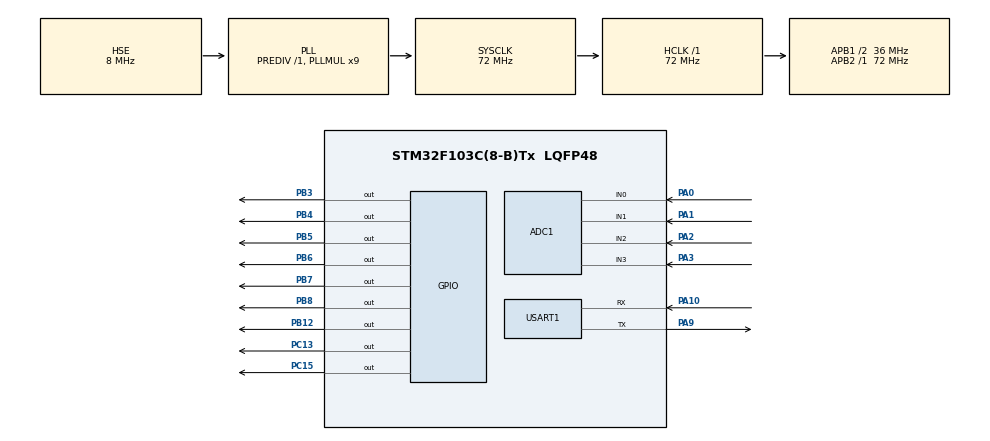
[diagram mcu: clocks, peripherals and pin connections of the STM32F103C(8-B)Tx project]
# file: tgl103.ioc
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ADC1.Channel-10\#ChannelRegularConversion=ADC_CHANNEL_2
ADC1.Channel-11\#ChannelRegularConversion=ADC_CHANNEL_3
ADC1.Channel-4\#ChannelRegularConversion=ADC_CHANNEL_0
ADC1.Channel-9\#ChannelRegularConversion=ADC_CHANNEL_1
ADC1.ContinuousConvMode=ENABLE
ADC1.DataAlign=ADC_DATAALIGN_RIGHT
ADC1.DiscontinuousConvMode=DISABLE
ADC1.EnableAnalogWatchDog=false
ADC1.EnableRegularConversion=ENABLE
ADC1.ExternalTrigConvEdgeChoice=NONE
ADC1.InjNumberOfConversion=0
ADC1.NbrOfConversion=4
ADC1.NbrOfConversionFlag=1
ADC1.Rank-10\#ChannelRegularConversion=3
ADC1.Rank-11\#ChannelRegularConversion=4
ADC1.Rank-4\#ChannelRegularConversion=1
ADC1.Rank-9\#ChannelRegularConversion=2
ADC1.SamplingTime-10\#ChannelRegularConversion=ADC_SAMPLETIME_239CYCLES_5
ADC1.SamplingTime-11\#ChannelRegularConversion=ADC_SAMPLETIME_239CYCLES_5
ADC1.SamplingTime-4\#ChannelRegularConversion=ADC_SAMPLETIME_239CYCLES_5
ADC1.SamplingTime-9\#ChannelRegularConversion=ADC_SAMPLETIME_239CYCLES_5
ADC1.ScanConvMode=ADC_SCAN_ENABLE
ADC1.master=1
Dma.ADC1.0.Direction=DMA_PERIPH_TO_MEMORY
Dma.ADC1.0.Instance=DMA1_Channel1
Dma.ADC1.0.MemDataAlignment=DMA_MDATAALIGN_HALFWORD
Dma.ADC1.0.MemInc=DMA_MINC_ENABLE
Dma.ADC1.0.Mode=DMA_CIRCULAR
Dma.ADC1.0.PeriphDataAlignment=DMA_PDATAALIGN_HALFWORD
Dma.ADC1.0.PeriphInc=DMA_PINC_DISABLE
Dma.ADC1.0.Priority=DMA_PRIORITY_HIGH
Dma.Request0=ADC1
Mcu.Family=STM32F1
Mcu.Name=STM32F103C(8-B)Tx
Mcu.Package=LQFP48
NVIC.ADC1_2_IRQn=true\:0\:0\:false\:false\:true
NVIC.DMA1_Channel1_IRQn=true\:0\:0\:false\:false\:true
NVIC.PriorityGroup=NVIC_PRIORITYGROUP_4
NVIC.TIM2_IRQn=true\:0\:0\:false\:false\:true
NVIC.TIM3_IRQn=true\:0\:0\:false\:false\:true
NVIC.USART1_IRQn=true\:0\:0\:false\:false\:true
PA0-WKUP.Signal=ADCx_IN0
PA1.Signal=ADCx_IN1
PA10.Mode=Asynchronous
PA10.Signal=USART1_RX
PA2.Signal=ADCx_IN2
PA3.Signal=ADCx_IN3
PA9.Mode=Asynchronous
PA9.Signal=USART1_TX
PB12.Signal=GPIO_Output
PB3.Signal=GPIO_Output
PB4.Signal=GPIO_Output
PB5.Signal=GPIO_Output
PB6.Signal=GPIO_Output
PB7.Signal=GPIO_Output
PB8.Signal=GPIO_Output
PC13-TAMPER-RTC.Signal=GPIO_Output
PC15-OSC32_OUT.Signal=GPIO_Output
PD0-OSC_IN.Mode=HSE-External-Oscillator
PD0-OSC_IN.Signal=RCC_OSC_IN
PD1-OSC_OUT.Mode=HSE-External-Oscillator
PD1-OSC_OUT.Signal=RCC_OSC_OUT
ProjectManager.HeapSize=0x200
ProjectManager.StackSize=0x400
ProjectManager.TargetToolchain=TrueSTUDIO
RCC.ADCPresc=RCC_ADCPCLK2_DIV6
RCC.AHBFreq_Value=72000000
RCC.APB1CLKDivider=RCC_HCLK_DIV2
RCC.APB1Freq_Value=36000000
RCC.APB1TimFreq_Value=72000000
RCC.APB2Freq_Value=72000000
RCC.APB2TimFreq_Value=72000000
RCC.HCLKFreq_Value=72000000
RCC.HSIState=RCC_HSI_ON
RCC.PLLMUL=RCC_PLL_MUL9
RCC.PLLSourceVirtual=RCC_PLLSOURCE_HSE
RCC.SYSCLKFreq_VALUE=72000000
RCC.SYSCLKSource=RCC_SYSCLKSOURCE_PLLCLK
RCC.USBFreq_Value=72000000
SH.ADCx_IN0.0=ADC1_IN0,IN0
SH.ADCx_IN1.0=ADC1_IN1,IN1
SH.ADCx_IN2.0=ADC1_IN2,IN2
SH.ADCx_IN3.0=ADC1_IN3,IN3
TIM2.Period=1199
TIM2.Prescaler=59999
TIM3.Period=599
TIM3.Prescaler=59999
VP_SYS_VS_ND.Mode=No_Debug
VP_TIM2_VS_ClockSourceINT.Mode=Internal
VP_TIM3_VS_ClockSourceINT.Mode=Internal
board=tgl103

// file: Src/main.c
/**
  ******************************************************************************
  * File Name          : main.c
  * Description        : Main program body
  ******************************************************************************
  *
  * COPYRIGHT(c) 2016 STMicroelectronics
  *
  * Redistribution and use in source and binary forms, with or without modification,
  * are permitted provided that the following conditions are met:
  *   1. Redistributions of source code must retain the above copyright notice,
  *      this list of conditions and the following disclaimer.
  *   2. Redistributions in binary form must reproduce the above copyright notice,
  *      this list of conditions and the following disclaimer in the documentation
  *      and/or other materials provided with the distribution.
  *   3. Neither the name of STMicroelectronics nor the names of its contributors
  *      may be used to endorse or promote products derived from this software
  *      without specific prior written permission.
  *
  * THIS SOFTWARE IS PROVIDED BY THE COPYRIGHT HOLDERS AND CONTRIBUTORS "AS IS"
  * AND ANY EXPRESS OR IMPLIED WARRANTIES, INCLUDING, BUT NOT LIMITED TO, THE
  * IMPLIED WARRANTIES OF MERCHANTABILITY AND FITNESS FOR A PARTICULAR PURPOSE ARE
  * DISCLAIMED. IN NO EVENT SHALL THE COPYRIGHT HOLDER OR CONTRIBUTORS BE LIABLE
  * FOR ANY DIRECT, INDIRECT, INCIDENTAL, SPECIAL, EXEMPLARY, OR CONSEQUENTIAL
  * DAMAGES (INCLUDING, BUT NOT LIMITED TO, PROCUREMENT OF SUBSTITUTE GOODS OR
  * SERVICES; LOSS OF USE, DATA, OR PROFITS; OR BUSINESS INTERRUPTION) HOWEVER
  * CAUSED AND ON ANY THEORY OF LIABILITY, WHETHER IN CONTRACT, STRICT LIABILITY,
  * OR TORT (INCLUDING NEGLIGENCE OR OTHERWISE) ARISING IN ANY WAY OUT OF THE USE
  * OF THIS SOFTWARE, EVEN IF ADVISED OF THE POSSIBILITY OF SUCH DAMAGE.
  *
  ******************************************************************************
  */
#include "main.h"
#include "stm32f1xx_hal.h"

/* USER CODE BEGIN Includes */

#define a 	-6.08514057893257E+01
#define b 	1.15381410267267E-01
#define c 	-9.03230843887536E-05
#define d 	3.93417328130461E-08
#define e 	-5.50323888608191E-12
#define f 	-8.02107242737393E-16
#define g 	2.19258540076786E-19

/* USER CODE END Includes */

ADC_HandleTypeDef hadc1;
DMA_HandleTypeDef hdma_adc1;

TIM_HandleTypeDef htim2;
TIM_HandleTypeDef htim3;

UART_HandleTypeDef huart1;

/* USER CODE BEGIN PV */
/* Private variables ---------------------------------------------------------*/
                  //123456789012345678901234567890
char str[2][30] = {"Cortex-M3 Stm32f103c8t6.....\r\n",
		           "Mini device for simple proj.\r\n"};
uint8_t ui8 = 0, snum = 0;
char    mathStr[40];

volatile uint16_t con_ADCDATA[6];  // 239.5 clock data
volatile uint16_t gADCDATA[6];     // 1/10  sec data

/* Initialization of variables for kalman filter */
float x_next, x=0.0,P_next,P=1,K,Q = 1.0/100000.0,R = 0.1*0.1,z;

/*
name:	Polynomial Regression (degree=6)
kind:	Regression
family:	Linear Regressions
equation:	a + b*x + c*x^2 + ...
latexequation:	a + bx + cx^2 + ...
indep. variables:	1

Parameters:
#define a 	-6.08514057893257E+01
#define b 	1.15381410267267E-01
#define c 	-9.03230843887536E-05
#define d 	3.93417328130461E-08
#define e 	-5.50323888608191E-12
#define f 	-8.02107242737393E-16
#define g 	2.19258540076786E-19

Standard Error:	5.96915120304801E-01
Coefficient of Determination (r^2):	9.99859758426623E-01
Correlation Coefficient (r):	9.99929876754677E-01

Covariance matrix:
	6.7256551157488043E-01	-4.2665563936484761E-03	8.3301722971038438E-06	-7.1430399001585161E-09	3.0112763202003818E-12	-6.1327033615241933E-16	4.8239295117853225E-20
	-4.2665563940342344E-03	2.9821065406003806E-05	-6.1169363381753954E-08	5.4021532171007549E-11	-2.3222782172565127E-14	4.7955732416632437E-18	-3.8114653608579197E-22
	8.3301722988046165E-06	-6.1169363388213123E-08	1.3056948562071395E-10	-1.1857085634927897E-13	5.2002483531673306E-17	-1.0900628490726176E-20	8.7646131917726930E-25
	-7.1430399023752774E-09	5.4021532181845890E-11	-1.1857085635990790E-13	1.1000729526928750E-16	-4.9042549459578582E-20	1.0412139338440372E-23	-8.4575337835788817E-28
	3.0112763214166075E-12	-2.3222782179109826E-14	5.2002483540166041E-17	-4.9042549463060603E-20	2.2150281580602848E-23	-4.7521669575648385E-27	3.8932434772931442E-31
	-6.1327033644943946E-16	4.7955732433445482E-18	-1.0900628493169043E-20	1.0412139339772940E-23	-4.7521669578292982E-27	1.0283570752195092E-30	-8.4855116305669211E-35
	4.8239295144538814E-20	-3.8114653624172619E-22	8.7646131941817622E-25	-8.4575337850552054E-28	3.8932434776835284E-31	-8.4855116309396446E-35	7.0444008174390275E-39

Parameter Standard Deviations:
a_stddev =	4.89530636627185E-01
b_stddev =	3.25967391909424E-03
c_stddev =	6.82077033770437E-06
d_stddev =	6.26070619448553E-09
e_stddev =	2.80932643477402E-12
f_stddev =	6.05319340504220E-16
g_stddev =	5.00996404911345E-20

Parameter Uncertainties, 95%:
a_unc =	9.66595167959348E-01
b_unc =	6.43633885925543E-03
c_unc =	1.34678468657448E-05
d_unc =	1.23619808502641E-08
e_unc =	5.54711218031708E-12
f_unc =	1.19522396725767E-15
g_unc =	9.89234723875133E-20
*/

/* USER CODE END PV */

void SystemClock_Config(void);
void Error_Handler(void);
static void MX_GPIO_Init(void);
static void MX_DMA_Init(void);
static void MX_USART1_UART_Init(void);
static void MX_TIM2_Init(void);
static void MX_TIM3_Init(void);
static void MX_ADC1_Init(void);

/* USER CODE BEGIN PFP */
/* Private function prototypes -----------------------------------------------*/

/* USER CODE END PFP */

/* USER CODE BEGIN 0 */
void HAL_TIM_PeriodElapsedCallback(TIM_HandleTypeDef *htim)
{
	uint8_t t;
	double    fV,Resistance;
    double Temp = 0.0;
//    uint16_t Resistance;

	if(htim->Instance==TIM2) {
		HAL_GPIO_TogglePin(GPIOB, GPIO_PIN_12);
		for(t=0;t<2;t++) {
			gADCDATA[t] = con_ADCDATA[t];
		}

		// Assuming a 10k Thermistor.  Calculation is actually: Resistance = (4096/ADC)
		/******************************************************************/
		/* Utilizes the Steinhart-Hart Thermistor Equation:				*/
		/*    Temperature in Kelvin = 1 / {A + B[ln(R)] + C[ln(R)]^3}		*/
		/*    where A = 0.001129148, B = 0.000234125 and C = 8.76741E-08	*/
		/******************************************************************/

		Resistance=((40960000.0/(4095-(float)gADCDATA[0])) - 10000.0);
		fV = log(Resistance);
		Temp = 1 / (0.001129148 + (0.000234125 * fV));//  + (0.0000000876741 * fV * fV * fV));
		Temp = Temp - 298.15;  // Convert Kelvin to Celsius
		sprintf(mathStr,"[%6u%6.2f]",(gADCDATA[0]),Temp);
		HAL_UART_Transmit(&huart1, (uint8_t *)mathStr, 14,1000);
		// TLCD_Init(GPIOB,GPIO_PIN_3,GPIO_PIN_4,GPIO_PIN_5,GPIO_PIN_6,GPIO_PIN_7,GPIO_PIN_8);
		TLCD_Puts(1,0,mathStr);

		/*
		sprintf(mathStr,"*%10u%10.2f\r\n",gADCDATA[1],MMF(gADCDATA[1]));
		HAL_UART_Transmit(&huart1, (uint8_t *)mathStr, 23,1000);*/
		sprintf(mathStr,"[%10u]\r\n",gADCDATA[1]);
		TLCD_Puts(2,0,mathStr);
		HAL_UART_Transmit(&huart1, (uint8_t *)mathStr, 14,1000);
	}
	else if(htim->Instance==TIM3) {
/*		if(ui8==2) ui8 = 0;
		if(snum==100) snum = 0;
		sprintf(mathStr,"Sin(%03d) = %15.10lf\r\n",snum, sin(snum*3.141592/180));
		HAL_UART_Transmit(&huart1, (uint8_t *)mathStr, 28,1000);
		ui8++;
		snum++; */
	}
}

double MMF(uint16_t x)
{
	double r = (a + b*x + c*pow(x,2) + d*pow(x,3) + e*pow(x,4) + f*pow(x,5) +g*pow(x,6));
	return r;
}

float kalmanData(float input_data)
{
    float rtn;

    x_next=x;
    P_next=P+Q;                      //    1 + 0.00001
    K=P_next/(P_next+R);             //    1.00001 / (1.00001 + 0.01)
    z=input_data;                    // -0.37727 ** ; input data
    x=x_next+K*(z-x_next);           // 0 + 0.990099 *(input-0)
    P=(1-K)*P_next;

    rtn = x;
    return rtn;
}

/* USER CODE END 0 */

int main(void)
{

  /* MCU Configuration----------------------------------------------------------*/

  /* Reset of all peripherals, Initializes the Flash interface and the Systick. */
  HAL_Init();

  /* Configure the system clock */
  SystemClock_Config();

  /* Initialize all configured peripherals */
  MX_GPIO_Init();
  MX_DMA_Init();
  MX_USART1_UART_Init();
  MX_TIM2_Init();
  MX_TIM3_Init();
  MX_ADC1_Init();

  TLCD_Init(GPIOB,GPIO_PIN_3,GPIO_PIN_4,GPIO_PIN_5,GPIO_PIN_6,GPIO_PIN_7,GPIO_PIN_8);
  TLCD_Puts(1,0,"12345678");
  TLCD_Puts(2,0,"asdfghjk");

  /* USER CODE BEGIN 2 */
  while(HAL_TIM_Base_Start_IT(&htim2)!=HAL_OK);
  while(HAL_TIM_Base_Start_IT(&htim3)!=HAL_OK);

  HAL_ADC_Start_DMA(&hadc1,(uint32_t *)&con_ADCDATA,6);
  /* USER CODE END 2 */

  /* Infinite loop */
  /* USER CODE BEGIN WHILE */

  HAL_GPIO_WritePin(GPIOB,GPIO_PIN_12, GPIO_PIN_SET);
  HAL_GPIO_WritePin(GPIOC,GPIO_PIN_13, GPIO_PIN_SET);

  while (1)
  {
  /* USER CODE END WHILE */

  }

}

/** System Clock Configuration
*/
void SystemClock_Config(void)
{

  RCC_OscInitTypeDef RCC_OscInitStruct;
  RCC_ClkInitTypeDef RCC_ClkInitStruct;
  RCC_PeriphCLKInitTypeDef PeriphClkInit;

    /**Initializes the CPU, AHB and APB busses clocks
    */
  RCC_OscInitStruct.OscillatorType = RCC_OSCILLATORTYPE_HSE;
  RCC_OscInitStruct.HSEState = RCC_HSE_ON;
  RCC_OscInitStruct.HSEPredivValue = RCC_HSE_PREDIV_DIV1;
  RCC_OscInitStruct.HSIState = RCC_HSI_ON;
  RCC_OscInitStruct.PLL.PLLState = RCC_PLL_ON;
  RCC_OscInitStruct.PLL.PLLSource = RCC_PLLSOURCE_HSE;
  RCC_OscInitStruct.PLL.PLLMUL = RCC_PLL_MUL9;
  if (HAL_RCC_OscConfig(&RCC_OscInitStruct) != HAL_OK)
  {
    Error_Handler();
  }

    /**Initializes the CPU, AHB and APB busses clocks
    */
  RCC_ClkInitStruct.ClockType = RCC_CLOCKTYPE_HCLK|RCC_CLOCKTYPE_SYSCLK
                              |RCC_CLOCKTYPE_PCLK1|RCC_CLOCKTYPE_PCLK2;
  RCC_ClkInitStruct.SYSCLKSource = RCC_SYSCLKSOURCE_PLLCLK;
  RCC_ClkInitStruct.AHBCLKDivider = RCC_SYSCLK_DIV1;
  RCC_ClkInitStruct.APB1CLKDivider = RCC_HCLK_DIV2;
  RCC_ClkInitStruct.APB2CLKDivider = RCC_HCLK_DIV1;

  if (HAL_RCC_ClockConfig(&RCC_ClkInitStruct, FLASH_LATENCY_2) != HAL_OK)
  {
    Error_Handler();
  }

  PeriphClkInit.PeriphClockSelection = RCC_PERIPHCLK_ADC;
  PeriphClkInit.AdcClockSelection = RCC_ADCPCLK2_DIV6;
  if (HAL_RCCEx_PeriphCLKConfig(&PeriphClkInit) != HAL_OK)
  {
    Error_Handler();
  }

    /**Configure the Systick interrupt time
    */
  HAL_SYSTICK_Config(HAL_RCC_GetHCLKFreq()/1000);

    /**Configure the Systick
    */
  HAL_SYSTICK_CLKSourceConfig(SYSTICK_CLKSOURCE_HCLK);

  /* SysTick_IRQn interrupt configuration */
  HAL_NVIC_SetPriority(SysTick_IRQn, 0, 0);
}

/* ADC1 init function */
static void MX_ADC1_Init(void)
{

  ADC_ChannelConfTypeDef sConfig;

    /**Common config
    */
  hadc1.Instance = ADC1;
  hadc1.Init.ScanConvMode = ADC_SCAN_ENABLE;
  hadc1.Init.ContinuousConvMode = ENABLE;
  hadc1.Init.DiscontinuousConvMode = DISABLE;
  hadc1.Init.ExternalTrigConv = ADC_SOFTWARE_START;
  hadc1.Init.DataAlign = ADC_DATAALIGN_RIGHT;
  hadc1.Init.NbrOfConversion = 4;
  if (HAL_ADC_Init(&hadc1) != HAL_OK)
  {
    Error_Handler();
  }

    /**Configure Regular Channel
    */
  sConfig.Channel = ADC_CHANNEL_0;
  sConfig.Rank = 1;
  sConfig.SamplingTime = ADC_SAMPLETIME_239CYCLES_5;
  if (HAL_ADC_ConfigChannel(&hadc1, &sConfig) != HAL_OK)
  {
    Error_Handler();
  }

    /**Configure Regular Channel
    */
  sConfig.Channel = ADC_CHANNEL_1;
  sConfig.Rank = 2;
  if (HAL_ADC_ConfigChannel(&hadc1, &sConfig) != HAL_OK)
  {
    Error_Handler();
  }

    /**Configure Regular Channel
    */
  sConfig.Channel = ADC_CHANNEL_2;
  sConfig.Rank = 3;
  if (HAL_ADC_ConfigChannel(&hadc1, &sConfig) != HAL_OK)
  {
    Error_Handler();
  }

    /**Configure Regular Channel
    */
  sConfig.Channel = ADC_CHANNEL_3;
  sConfig.Rank = 4;
  if (HAL_ADC_ConfigChannel(&hadc1, &sConfig) != HAL_OK)
  {
    Error_Handler();
  }

}

/* TIM2 init function */
static void MX_TIM2_Init(void)
{

  TIM_ClockConfigTypeDef sClockSourceConfig;
  TIM_MasterConfigTypeDef sMasterConfig;

  htim2.Instance = TIM2;
  htim2.Init.Prescaler = 59999;
  htim2.Init.CounterMode = TIM_COUNTERMODE_UP;
  htim2.Init.Period = 1199;
  htim2.Init.ClockDivision = TIM_CLOCKDIVISION_DIV1;
  if (HAL_TIM_Base_Init(&htim2) != HAL_OK)
  {
    Error_Handler();
  }

  sClockSourceConfig.ClockSource = TIM_CLOCKSOURCE_INTERNAL;
  if (HAL_TIM_ConfigClockSource(&htim2, &sClockSourceConfig) != HAL_OK)
  {
    Error_Handler();
  }

  sMasterConfig.MasterOutputTrigger = TIM_TRGO_RESET;
  sMasterConfig.MasterSlaveMode = TIM_MASTERSLAVEMODE_DISABLE;
  if (HAL_TIMEx_MasterConfigSynchronization(&htim2, &sMasterConfig) != HAL_OK)
  {
    Error_Handler();
  }

}

/* TIM3 init function */
static void MX_TIM3_Init(void)
{

  TIM_ClockConfigTypeDef sClockSourceConfig;
  TIM_MasterConfigTypeDef sMasterConfig;

  htim3.Instance = TIM3;
  htim3.Init.Prescaler = 59999;
  htim3.Init.CounterMode = TIM_COUNTERMODE_UP;
  htim3.Init.Period = 599;
  htim3.Init.ClockDivision = TIM_CLOCKDIVISION_DIV1;
  if (HAL_TIM_Base_Init(&htim3) != HAL_OK)
  {
    Error_Handler();
  }

  sClockSourceConfig.ClockSource = TIM_CLOCKSOURCE_INTERNAL;
  if (HAL_TIM_ConfigClockSource(&htim3, &sClockSourceConfig) != HAL_OK)
  {
    Error_Handler();
  }

  sMasterConfig.MasterOutputTrigger = TIM_TRGO_RESET;
  sMasterConfig.MasterSlaveMode = TIM_MASTERSLAVEMODE_DISABLE;
  if (HAL_TIMEx_MasterConfigSynchronization(&htim3, &sMasterConfig) != HAL_OK)
  {
    Error_Handler();
  }

}

/* USART1 init function */
static void MX_USART1_UART_Init(void)
{

  huart1.Instance = USART1;
  huart1.Init.BaudRate = 115200;
  huart1.Init.WordLength = UART_WORDLENGTH_8B;
  huart1.Init.StopBits = UART_STOPBITS_1;
  huart1.Init.Parity = UART_PARITY_NONE;
  huart1.Init.Mode = UART_MODE_TX_RX;
  huart1.Init.HwFlowCtl = UART_HWCONTROL_NONE;
  huart1.Init.OverSampling = UART_OVERSAMPLING_16;
  if (HAL_UART_Init(&huart1) != HAL_OK)
  {
    Error_Handler();
  }

}

static void MX_DMA_Init(void)
{
  /* DMA controller clock enable */
  __HAL_RCC_DMA1_CLK_ENABLE();

  /* DMA interrupt init */
  /* DMA1_Channel1_IRQn interrupt configuration */
  HAL_NVIC_SetPriority(DMA1_Channel1_IRQn, 0, 0);
  HAL_NVIC_EnableIRQ(DMA1_Channel1_IRQn);

}

/** Configure pins as
        * Analog
        * Input
        * Output
        * EVENT_OUT
        * EXTI
*/
static void MX_GPIO_Init(void)
{

  GPIO_InitTypeDef GPIO_InitStruct;

  /* GPIO Ports Clock Enable */
  __HAL_RCC_GPIOC_CLK_ENABLE();
  __HAL_RCC_GPIOD_CLK_ENABLE();
  __HAL_RCC_GPIOA_CLK_ENABLE();
  __HAL_RCC_GPIOB_CLK_ENABLE();

  /*Configure GPIO pin Output Level */
  HAL_GPIO_WritePin(GPIOC, GPIO_PIN_13|GPIO_PIN_15, GPIO_PIN_RESET);

  /*Configure GPIO pin Output Level */
  HAL_GPIO_WritePin(GPIOB, GPIO_PIN_12|GPIO_PIN_3|GPIO_PIN_4|GPIO_PIN_5
                          |GPIO_PIN_6|GPIO_PIN_7|GPIO_PIN_8, GPIO_PIN_RESET);

  /*Configure GPIO pins : PC13 PC15 */
  GPIO_InitStruct.Pin = GPIO_PIN_13|GPIO_PIN_15;
  GPIO_InitStruct.Mode = GPIO_MODE_OUTPUT_PP;
  GPIO_InitStruct.Speed = GPIO_SPEED_FREQ_LOW;
  HAL_GPIO_Init(GPIOC, &GPIO_InitStruct);

  /*Configure GPIO pins : PB12 PB3 PB4 PB5
                           PB6 PB7 PB8 */
  GPIO_InitStruct.Pin = GPIO_PIN_12|GPIO_PIN_3|GPIO_PIN_4|GPIO_PIN_5
                          |GPIO_PIN_6|GPIO_PIN_7|GPIO_PIN_8;
  GPIO_InitStruct.Mode = GPIO_MODE_OUTPUT_PP;
  GPIO_InitStruct.Speed = GPIO_SPEED_FREQ_LOW;
  HAL_GPIO_Init(GPIOB, &GPIO_InitStruct);

}

void Error_Handler(void)
{
  while(1)
  {
  }
}

/************************ (C) COPYRIGHT STMicroelectronics *****END OF FILE****/
